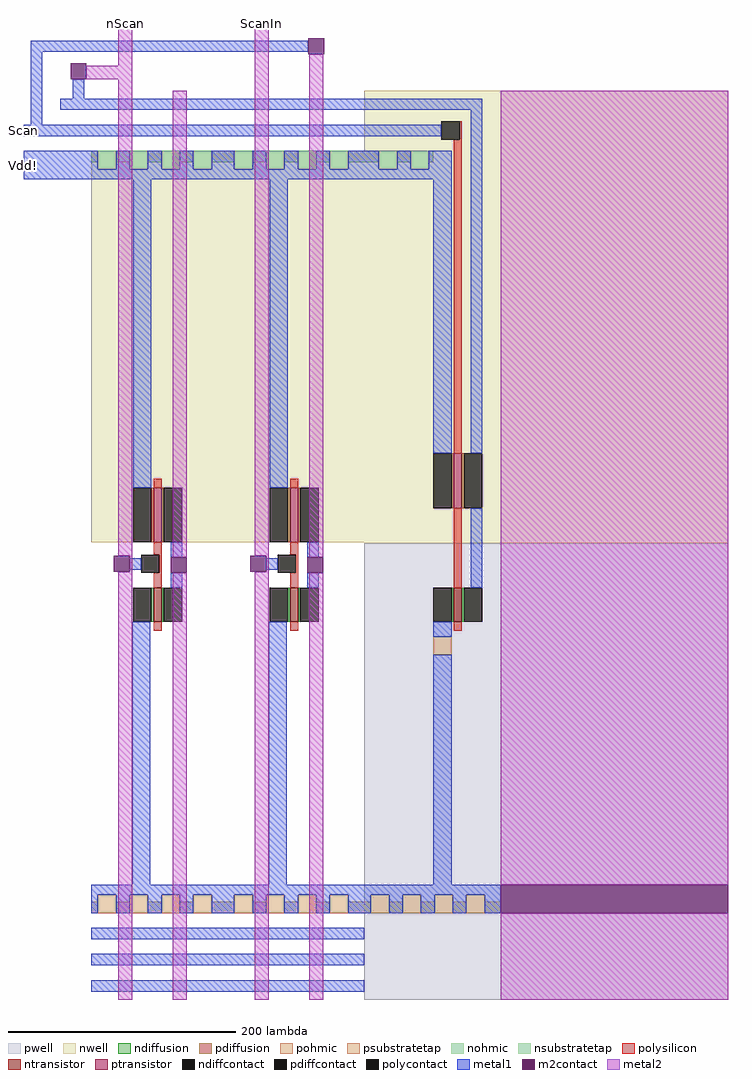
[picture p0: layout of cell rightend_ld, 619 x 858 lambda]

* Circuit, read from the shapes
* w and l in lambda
.subckt rightend_ld GND! Scan ScanIn Vdd! nScan
M1 inv_1/Y nScan GND! VSUBS nfet w=30 l=7
M2 Scan ScanIn GND! VSUBS nfet w=30 l=7
M3 nScan Scan n1 VSUBS nfet w=30 l=7
M4 inv_1/Y nScan Vdd! n2 pfet w=48 l=7
M5 Scan ScanIn Vdd! n2 pfet w=48 l=7
M6 nScan Scan Vdd! n2 pfet w=48 l=7
.ends

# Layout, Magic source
magic
tech c035u
<< metal1 >>
rect 6 833 250 843
rect 6 769 16 833
rect 43 792 53 809
rect 32 782 59 792
rect 0 759 59 769
rect 0 721 59 746
<< m2contact >>
rect 250 831 264 845
rect 41 809 55 823
<< metal2 >>
rect 83 821 95 858
rect 55 809 95 821
rect 83 799 95 809
rect 203 799 215 858
rect 251 799 263 831
use inv inv_1
transform 1 0 59 0 1 0
box 0 0 120 799
use inv inv_0
transform 1 0 179 0 1 0
box 0 0 120 799
use rightend rightend_0
transform 1 0 299 0 1 0
box 0 0 320 799
<< labels >>
rlabel metal1 0 721 0 746 3 Vdd!
rlabel metal1 0 759 0 769 3 Scan
rlabel metal2 203 858 215 858 5 ScanIn
rlabel metal2 83 858 95 858 5 nScan
<< end >>

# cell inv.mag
magic
tech c035u
<< nwell >>
rect 0 402 120 746
<< polysilicon >>
rect 55 450 62 458
rect 55 391 62 402
rect 60 375 62 391
rect 55 362 62 375
rect 55 324 62 332
<< ndiffusion >>
rect 53 332 55 362
rect 62 332 64 362
<< pdiffusion >>
rect 53 402 55 450
rect 62 402 64 450
<< pohmic >>
rect 0 76 6 86
rect 22 76 34 86
rect 50 76 62 86
rect 78 76 90 86
rect 106 76 120 86
<< nohmic >>
rect 0 736 6 746
rect 22 736 34 746
rect 50 736 62 746
rect 78 736 90 746
rect 106 736 120 746
<< ntransistor >>
rect 55 332 62 362
<< ptransistor >>
rect 55 402 62 450
<< polycontact >>
rect 44 375 60 391
<< ndiffcontact >>
rect 37 332 53 362
rect 64 332 80 362
<< pdiffcontact >>
rect 37 402 53 450
rect 64 402 80 450
<< psubstratetap >>
rect 6 76 22 92
rect 34 76 50 92
rect 62 76 78 92
rect 90 76 106 92
<< nsubstratetap >>
rect 6 730 22 746
rect 34 730 50 746
rect 62 730 78 746
rect 90 730 106 746
<< metal1 >>
rect 0 782 120 792
rect 0 759 120 769
rect 0 730 6 746
rect 22 730 34 746
rect 50 730 62 746
rect 78 730 90 746
rect 106 730 120 746
rect 0 721 120 730
rect 37 450 53 721
rect 34 378 44 388
rect 70 389 80 402
rect 70 362 80 375
rect 36 101 52 332
rect 0 92 120 101
rect 0 76 6 92
rect 22 76 34 92
rect 50 76 62 92
rect 78 76 90 92
rect 106 76 120 92
rect 0 53 120 63
rect 0 30 120 40
rect 0 7 120 17
<< m2contact >>
rect 20 376 34 390
rect 70 375 84 389
<< metal2 >>
rect 24 390 36 799
rect 34 376 36 390
rect 72 389 84 799
rect 24 0 36 376
rect 72 0 84 375
<< labels >>
rlabel metal1 0 721 0 746 7 Vdd!
rlabel metal1 0 759 0 769 7 Scan
rlabel metal1 0 782 0 792 6 ScanReturn
rlabel metal1 120 721 120 746 7 Vdd!
rlabel metal1 120 759 120 769 7 Scan
rlabel metal1 120 782 120 792 6 ScanReturn
rlabel metal2 24 799 36 799 5 A
rlabel metal2 72 799 84 799 5 Y
rlabel metal1 0 76 0 101 7 GND!
rlabel metal1 0 53 0 63 7 Clock
rlabel metal1 0 30 0 40 7 Test
rlabel metal1 0 7 0 17 8 nReset
rlabel metal1 120 7 120 17 8 nReset
rlabel metal1 120 30 120 40 7 Test
rlabel metal1 120 53 120 63 7 Clock
rlabel metal1 120 76 120 101 7 GND!
rlabel metal2 24 0 36 0 1 A
rlabel metal2 72 0 84 0 1 Y
<< end >>

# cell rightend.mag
magic
tech c035u
<< nwell >>
rect 0 401 320 799
<< pwell >>
rect 0 0 320 401
<< polysilicon >>
rect 84 756 86 772
rect 79 480 86 756
rect 79 362 86 432
rect 79 324 86 332
<< ndiffusion >>
rect 77 332 79 362
rect 86 332 88 362
<< pdiffusion >>
rect 77 432 79 480
rect 86 432 88 480
<< pohmic >>
rect 0 76 6 86
rect 22 76 34 86
rect 50 76 62 86
rect 78 76 90 86
rect 106 76 120 86
<< nohmic >>
rect 0 736 13 746
rect 29 736 41 746
rect 57 736 61 746
<< ntransistor >>
rect 79 332 86 362
<< ptransistor >>
rect 79 432 86 480
<< polycontact >>
rect 68 756 84 772
<< ndiffcontact >>
rect 61 332 77 362
rect 88 332 104 362
<< pdiffcontact >>
rect 61 432 77 480
rect 88 432 104 480
<< psubstratetap >>
rect 61 303 77 319
rect 6 76 22 92
rect 34 76 50 92
rect 62 76 78 92
rect 90 76 106 92
<< nsubstratetap >>
rect 13 730 29 746
rect 41 730 57 746
<< metal1 >>
rect 0 782 104 792
rect 0 759 68 769
rect 0 730 13 746
rect 29 730 41 746
rect 57 730 77 746
rect 0 721 77 730
rect 61 480 77 721
rect 94 480 104 782
rect 94 362 104 432
rect 61 319 77 332
rect 61 101 77 303
rect 0 92 120 101
rect 0 76 6 92
rect 22 76 34 92
rect 50 76 62 92
rect 78 76 90 92
rect 106 76 120 92
<< m2contact >>
rect 120 76 320 101
<< metal2 >>
rect 120 101 320 799
rect 120 0 320 76
<< labels >>
rlabel metal2 120 799 320 799 5 GND!
rlabel metal2 120 0 320 0 1 GND!
rlabel metal1 0 759 0 769 7 Scan
rlabel metal1 0 721 0 746 3 Vdd!
rlabel metal1 0 782 0 792 3 nScan
rlabel metal1 0 76 0 101 7 GND!
<< end >>
